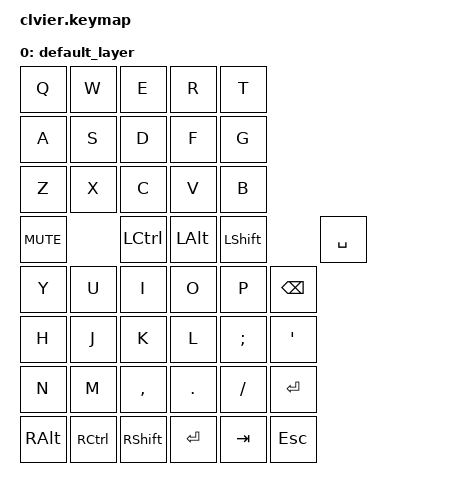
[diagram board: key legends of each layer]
#include <behaviors.dtsi>
#include <dt-bindings/zmk/keys.h>

// ============================================================================
// 【仕組みのメモ】
// ・#include <behaviors.dtsi> という記述により、ZMKシステムが用意している
//   基本ルールファイルを自動で合体します。これにより「&kp」などの挙動が使えます。
// ・#include <dt-bindings/zmk/keys.h> も同様の辞書ファイルです。人間が「A」と
//   書きたいところ、PC向けの内部コード「4」へ自動変換してくれる対応表です。
// ============================================================================

/ {
    keymap {
        compatible = "zmk,keymap";

        // 【テスト用デフォルトレイヤー（Layer 0）】
        // 左手側：5列×4行＝20キー / 右手側：6列×4行＝24キー の合計44キー分を定義しています。
        // まずはアルファベットが正しく入力できるかテストするための仮の配置です。
        default_layer {
            bindings = <
                // ── 左手側マトリクス（20キー） ──
                &kp Q  &kp W  &kp E  &kp R  &kp T
                &kp A  &kp S  &kp D  &kp F  &kp G
                &kp Z  &kp X  &kp C  &kp V  &kp B
                &kp C_MUTE &kp LCTRL &kp LALT &kp LSHIFT &kp SPACE

                // ── 右手側マトリクス（24キー） ──
                &kp Y  &kp U  &kp I  &kp O  &kp P  &kp BSPC
                &kp H  &kp J  &kp K  &kp L  &kp SEMI &kp SQT
                &kp N  &kp M  &kp COMMA &kp DOT &kp FSLH &kp ENTER
                &kp RALT &kp RCTRL &kp RSHIFT &kp RET &kp TAB &kp ESC
            >;
        };
    };
};

// ============================================================================
// 【配置に関するメモ】
// ・コード内には「左手/右手」「何行目」という直接の記載はありません。
// ・裏側の「clvier.dtsi」にて、1番目のデータはRow0-Col0…とすべて定義されています。
// ・そのため、ここでは改行をなくして1行でずらっと44個並べたとしても、
//   システム側は「41番目のデータだから右手のRowX-ColYのキーだ」と自動判定します。
// ============================================================================
